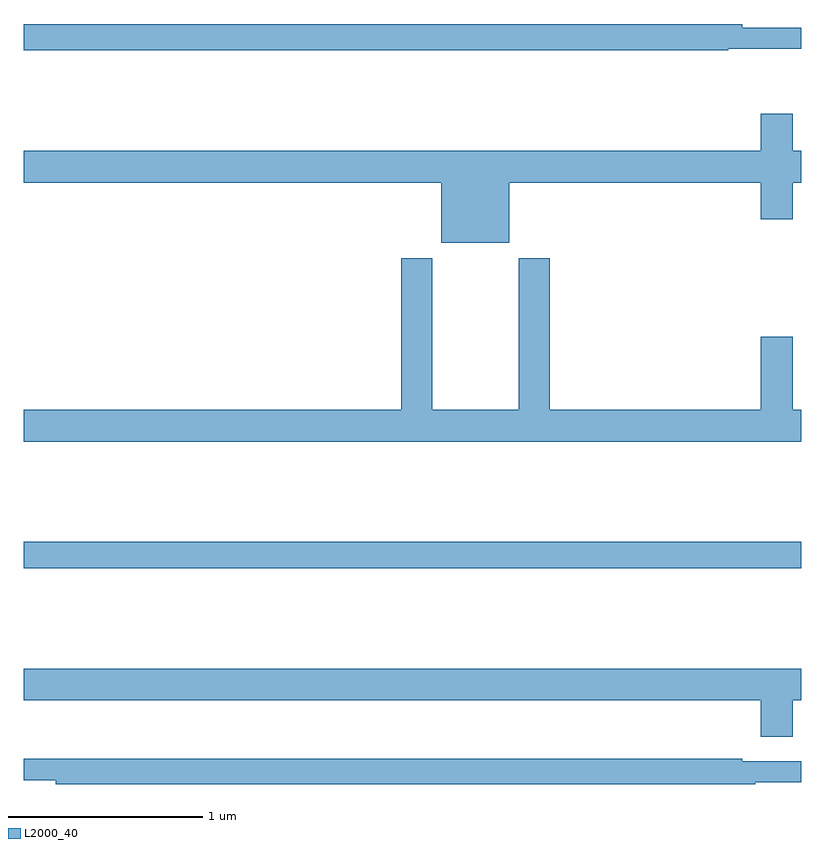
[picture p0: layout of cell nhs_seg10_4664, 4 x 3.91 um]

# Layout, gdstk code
import gdstk
lib = gdstk.Library(unit=1e-6, precision=1e-09)
def R(c, l, rs):  # rectangles x0, y0, x1, y1
    for r in rs: c.add(gdstk.rectangle(r[:2], r[2:], *l))
def P(c, l, *ps):  # polygons
    for p in ps: c.add(gdstk.Polygon(p, *l))
L2000_40 = (2000, 40)

nhs_seg10_4664 = lib.new_cell('nhs_seg10_4664')
R(nhs_seg10_4664, L2000_40, [(377,1323.64,381,1323.776)])
P(nhs_seg10_4664, L2000_40, [(380.624,1326.312),(381,1326.312),(381,1326.421),(380.696,1326.421),(380.696,1326.44),(377,1326.44),(377,1326.304),(380.624,1326.304)],
  [(379.498,1325.624),(380.792,1325.624),(380.792,1325.436),(380.956,1325.436),(380.956,1325.624),(381,1325.624),(381,1325.788),(380.956,1325.788),(380.956,1325.977),(380.792,1325.977),(380.792,1325.788),(377,1325.788),(377,1325.624),(379.148,1325.624),(379.148,1325.315),(379.498,1325.315)],
  [(381,1324.456),(380.956,1324.456),(380.956,1324.831),(380.792,1324.831),(380.792,1324.456),(379.706,1324.456),(379.706,1325.236),(379.546,1325.236),(379.546,1324.456),(379.101,1324.456),(379.101,1325.236),(378.941,1325.236),(378.941,1324.456),(377,1324.456),(377,1324.292),(381,1324.292)],
  [(380.956,1322.96),(381,1322.96),(381,1323.124),(377,1323.124),(377,1322.96),(380.792,1322.96),(380.792,1322.772),(380.956,1322.772)],
  [(380.764,1322.538),(381,1322.538),(381,1322.646),(380.696,1322.646),(380.696,1322.659),(377,1322.659),(377,1322.549),(377.164,1322.549),(377.164,1322.53),(380.764,1322.53)])

lib.write_gds('nhs_seg10_4664.gds')
